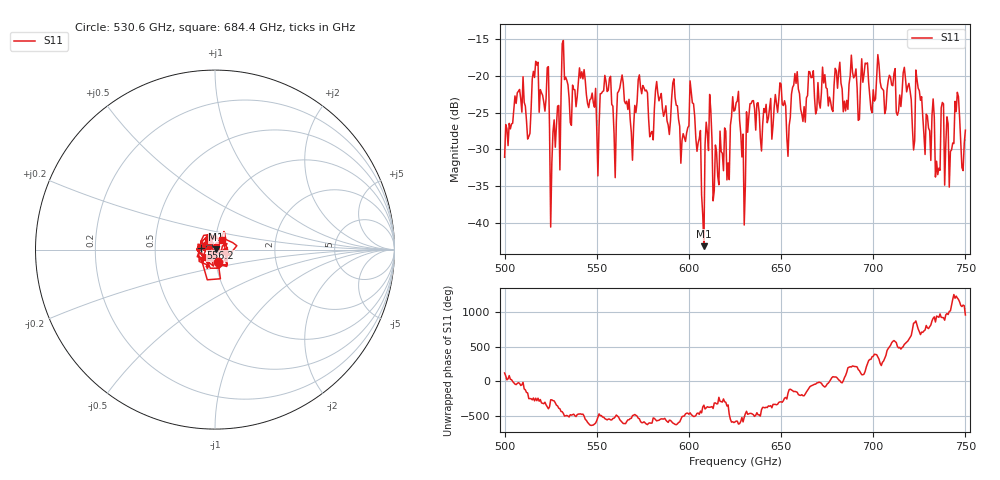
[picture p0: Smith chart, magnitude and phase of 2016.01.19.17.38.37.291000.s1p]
!Created with skrf (http://scikit-rf.org).
# GHz S RI R 50.0
!freq ReS11 ImS11
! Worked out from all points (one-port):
!   401 points, 500 GHz to 750 GHz, reference 50 ohm
!   lowest |S11| = -43.1 dB at 608.1 GHz (marker M1), VSWR 1.01, Z = 50.7 + j0.18 ohm
!   |S11| at or under -10 dB: start of sweep to end of sweep
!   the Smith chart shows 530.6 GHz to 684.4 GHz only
!   S11 on the Smith chart (normalised r, x): 530.6 GHz: 1.02, -0.15; 556.2 GHz: 0.85, +0.01; 684.4 GHz: 1.08, +0.12
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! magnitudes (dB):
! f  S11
! 500 GHz  -31.1
! 506.9 GHz  -22.3
! 513.1 GHz  -28.3
! 516.9 GHz  -18.0
! 526.2 GHz  -27.6
! 530.6 GHz  -22.7
! 531.2 GHz  -15.6
! 550 GHz  -27.3
! 556.2 GHz  -22.0
! 559.4 GHz  -27.8
! 562.5 GHz  -21.7
! 569.4 GHz  -31.5
! 573.8 GHz  -21.6
! 593.8 GHz  -24.1
! 601.9 GHz  -23.7
! 608.1 GHz  -43.1
! 610.6 GHz  -30.2
! 614.4 GHz  -29.4
! 625 GHz  -24.7
! 629.4 GHz  -27.9
! 633.8 GHz  -23.8
! 656.2 GHz  -21.6
! 684.4 GHz  -23.5
! 687.5 GHz  -20.0
! 718.8 GHz  -21.4
! 735 GHz  -33.4
! 745.6 GHz  -22.3
! 750 GHz  -27.4
